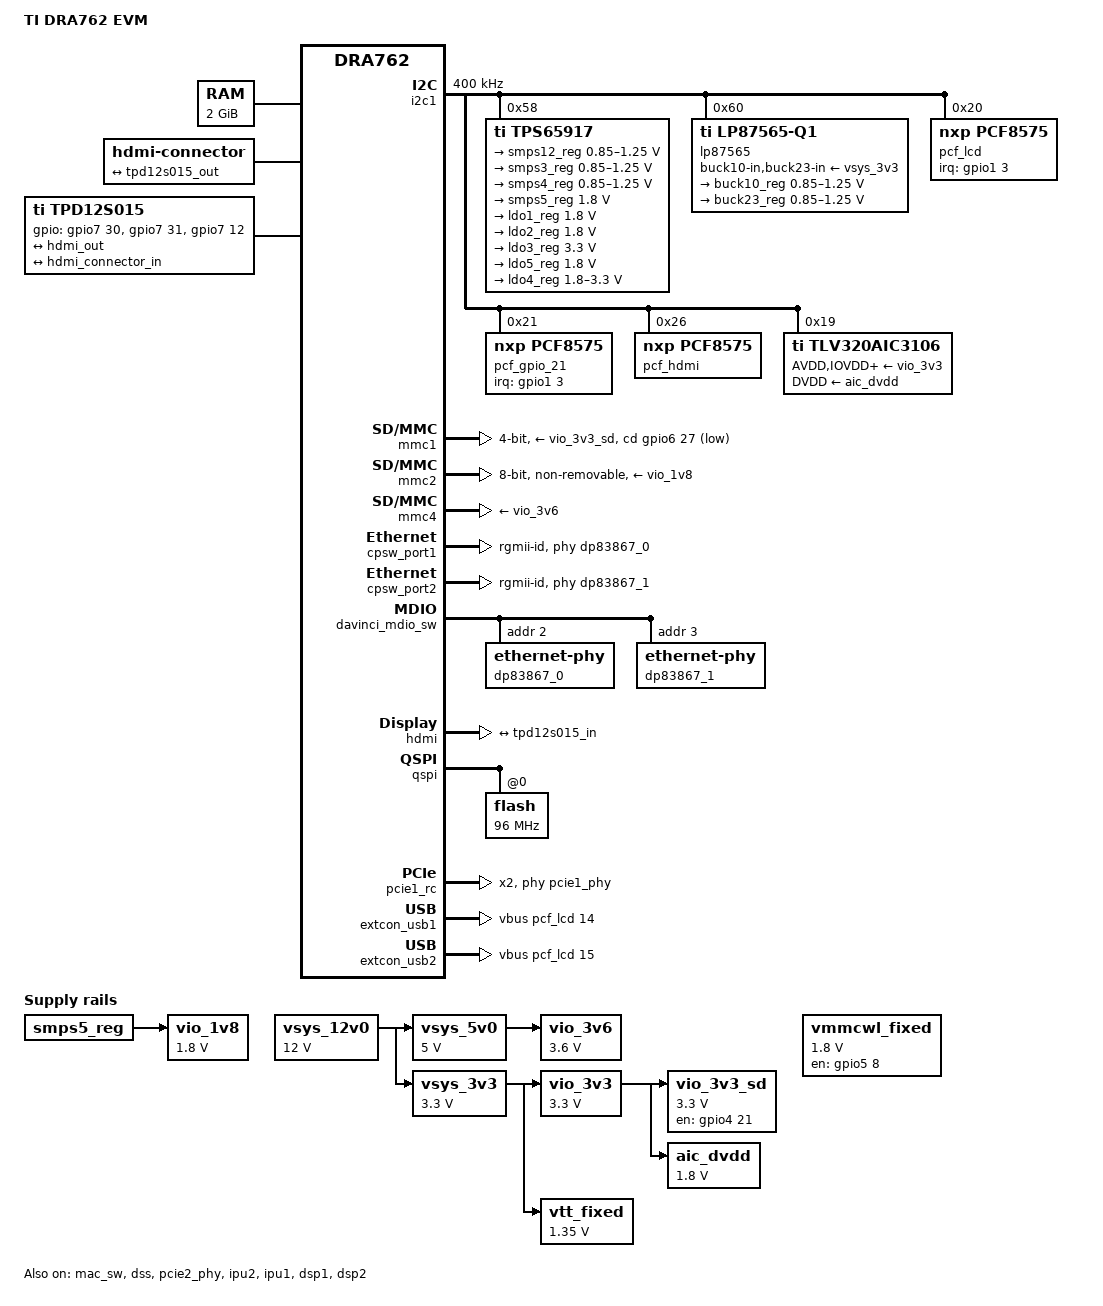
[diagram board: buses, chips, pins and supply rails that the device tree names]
// SPDX-License-Identifier: GPL-2.0-only
/*
 * Copyright (C) 2017 Texas Instruments Incorporated - https://www.ti.com/
 */
/dts-v1/;

#include "dra76x.dtsi"
#include "dra7-evm-common.dtsi"
#include "dra76x-mmc-iodelay.dtsi"
#include <dt-bindings/net/ti-dp83867.h>

/ {
	model = "TI DRA762 EVM";
	compatible = "ti,dra76-evm", "ti,dra762", "ti,dra7";

	aliases {
		display0 = &hdmi0;

		sound0 = &sound0;
		sound1 = &hdmi;
	};

	memory@0 {
		device_type = "memory";
		reg = <0x0 0x80000000 0x0 0x80000000>;
	};

	reserved-memory {
		#address-cells = <2>;
		#size-cells = <2>;
		ranges;

		ipu2_cma_pool: ipu2_cma@95800000 {
			compatible = "shared-dma-pool";
			reg = <0x0 0x95800000 0x0 0x3800000>;
			reusable;
			status = "okay";
		};

		dsp1_cma_pool: dsp1_cma@99000000 {
			compatible = "shared-dma-pool";
			reg = <0x0 0x99000000 0x0 0x4000000>;
			reusable;
			status = "okay";
		};

		ipu1_cma_pool: ipu1_cma@9d000000 {
			compatible = "shared-dma-pool";
			reg = <0x0 0x9d000000 0x0 0x2000000>;
			reusable;
			status = "okay";
		};

		dsp2_cma_pool: dsp2_cma@9f000000 {
			compatible = "shared-dma-pool";
			reg = <0x0 0x9f000000 0x0 0x800000>;
			reusable;
			status = "okay";
		};
	};

	vsys_12v0: fixedregulator-vsys12v0 {
		/* main supply */
		compatible = "regulator-fixed";
		regulator-name = "vsys_12v0";
		regulator-min-microvolt = <12000000>;
		regulator-max-microvolt = <12000000>;
		regulator-always-on;
		regulator-boot-on;
	};

	vsys_5v0: fixedregulator-vsys5v0 {
		/* Output of Cntlr B of TPS43351-Q1 on dra76-evm */
		compatible = "regulator-fixed";
		regulator-name = "vsys_5v0";
		regulator-min-microvolt = <5000000>;
		regulator-max-microvolt = <5000000>;
		vin-supply = <&vsys_12v0>;
		regulator-always-on;
		regulator-boot-on;
	};

	vio_3v6: fixedregulator-vio_3v6 {
		compatible = "regulator-fixed";
		regulator-name = "vio_3v6";
		regulator-min-microvolt = <3600000>;
		regulator-max-microvolt = <3600000>;
		vin-supply = <&vsys_5v0>;
		regulator-always-on;
		regulator-boot-on;
	};

	vsys_3v3: fixedregulator-vsys3v3 {
		/* Output of Cntlr A of TPS43351-Q1 on dra76-evm */
		compatible = "regulator-fixed";
		regulator-name = "vsys_3v3";
		regulator-min-microvolt = <3300000>;
		regulator-max-microvolt = <3300000>;
		vin-supply = <&vsys_12v0>;
		regulator-always-on;
		regulator-boot-on;
	};

	vio_3v3: fixedregulator-vio_3v3 {
		compatible = "regulator-fixed";
		regulator-name = "vio_3v3";
		regulator-min-microvolt = <3300000>;
		regulator-max-microvolt = <3300000>;
		vin-supply = <&vsys_3v3>;
		regulator-always-on;
		regulator-boot-on;
	};

	vio_3v3_sd: fixedregulator-sd {
		compatible = "regulator-fixed";
		regulator-name = "vio_3v3_sd";
		regulator-min-microvolt = <3300000>;
		regulator-max-microvolt = <3300000>;
		vin-supply = <&vio_3v3>;
		enable-active-high;
		gpio = <&gpio4 21 GPIO_ACTIVE_HIGH>;
	};

	vio_1v8: fixedregulator-vio_1v8 {
		compatible = "regulator-fixed";
		regulator-name = "vio_1v8";
		regulator-min-microvolt = <1800000>;
		regulator-max-microvolt = <1800000>;
		vin-supply = <&smps5_reg>;
	};

	vmmcwl_fixed: fixedregulator-mmcwl {
		compatible = "regulator-fixed";
		regulator-name = "vmmcwl_fixed";
		regulator-min-microvolt = <1800000>;
		regulator-max-microvolt = <1800000>;
		gpio = <&gpio5 8 0>;	/* gpio5_8 */
		startup-delay-us = <70000>;
		enable-active-high;
	};

	vtt_fixed: fixedregulator-vtt {
		compatible = "regulator-fixed";
		regulator-name = "vtt_fixed";
		regulator-min-microvolt = <1350000>;
		regulator-max-microvolt = <1350000>;
		vin-supply = <&vsys_3v3>;
		regulator-always-on;
		regulator-boot-on;
	};

	aic_dvdd: fixedregulator-aic_dvdd {
		/* TPS77018DBVT */
		compatible = "regulator-fixed";
		regulator-name = "aic_dvdd";
		vin-supply = <&vio_3v3>;
		regulator-min-microvolt = <1800000>;
		regulator-max-microvolt = <1800000>;
	};

	hdmi0: connector {
		compatible = "hdmi-connector";
		label = "hdmi";

		type = "a";

		port {
			hdmi_connector_in: endpoint {
				remote-endpoint = <&tpd12s015_out>;
			};
		};
	};

	tpd12s015: encoder {
		compatible = "ti,tpd12s015";

		gpios = <&gpio7 30 GPIO_ACTIVE_HIGH>,   /* gpio7_30, CT CP HPD */
			<&gpio7 31 GPIO_ACTIVE_HIGH>,   /* gpio7_31, LS OE */
			<&gpio7 12 GPIO_ACTIVE_HIGH>;   /* gpio7_12/sp1_cs2, HPD */

		ports {
			#address-cells = <1>;
			#size-cells = <0>;

			port@0 {
				reg = <0>;

				tpd12s015_in: endpoint {
					remote-endpoint = <&hdmi_out>;
				};
			};

			port@1 {
				reg = <1>;

				tpd12s015_out: endpoint {
					remote-endpoint = <&hdmi_connector_in>;
				};
			};
		};
	};
};

&i2c1 {
	status = "okay";
	clock-frequency = <400000>;

	tps65917: tps65917@58 {
		compatible = "ti,tps65917";
		reg = <0x58>;
		ti,system-power-controller;
		ti,palmas-override-powerhold;
		interrupt-controller;
		#interrupt-cells = <2>;

		tps65917_pmic {
			compatible = "ti,tps65917-pmic";

			smps12-in-supply = <&vsys_3v3>;
			smps3-in-supply = <&vsys_3v3>;
			smps4-in-supply = <&vsys_3v3>;
			smps5-in-supply = <&vsys_3v3>;
			ldo1-in-supply = <&vsys_3v3>;
			ldo2-in-supply = <&vsys_3v3>;
			ldo3-in-supply = <&vsys_5v0>;
			ldo4-in-supply = <&vsys_5v0>;
			ldo5-in-supply = <&vsys_3v3>;

			tps65917_regulators: regulators {
				smps12_reg: smps12 {
					/* VDD_DSPEVE */
					regulator-name = "smps12";
					regulator-min-microvolt = <850000>;
					regulator-max-microvolt = <1250000>;
					regulator-always-on;
					regulator-boot-on;
				};

				smps3_reg: smps3 {
					/* VDD_CORE */
					regulator-name = "smps3";
					regulator-min-microvolt = <850000>;
					regulator-max-microvolt = <1250000>;
					regulator-boot-on;
					regulator-always-on;
				};

				smps4_reg: smps4 {
					/* VDD_IVA */
					regulator-name = "smps4";
					regulator-min-microvolt = <850000>;
					regulator-max-microvolt = <1250000>;
					regulator-always-on;
					regulator-boot-on;
				};

				smps5_reg: smps5 {
					/* VDDS1V8 */
					regulator-name = "smps5";
					regulator-min-microvolt = <1800000>;
					regulator-max-microvolt = <1800000>;
					regulator-boot-on;
					regulator-always-on;
				};

				ldo1_reg: ldo1 {
					/* LDO1_OUT --> VDA_PHY1_1V8  */
					regulator-name = "ldo1";
					regulator-min-microvolt = <1800000>;
					regulator-max-microvolt = <1800000>;
					regulator-always-on;
					regulator-boot-on;
					regulator-allow-bypass;
				};

				ldo2_reg: ldo2 {
					/* LDO2_OUT --> VDA_PHY2_1V8 */
					regulator-name = "ldo2";
					regulator-min-microvolt = <1800000>;
					regulator-max-microvolt = <1800000>;
					regulator-allow-bypass;
					regulator-always-on;
				};

				ldo3_reg: ldo3 {
					/* VDA_USB_3V3 */
					regulator-name = "ldo3";
					regulator-min-microvolt = <3300000>;
					regulator-max-microvolt = <3300000>;
					regulator-boot-on;
					regulator-always-on;
				};

				ldo5_reg: ldo5 {
					/* VDDA_1V8_PLL */
					regulator-name = "ldo5";
					regulator-min-microvolt = <1800000>;
					regulator-max-microvolt = <1800000>;
					regulator-always-on;
					regulator-boot-on;
				};

				ldo4_reg: ldo4 {
					/* VDD_SDIO_DV */
					regulator-name = "ldo4";
					regulator-min-microvolt = <1800000>;
					regulator-max-microvolt = <3300000>;
					regulator-boot-on;
					regulator-always-on;
				};
			};
		};

		tps65917_power_button {
			compatible = "ti,palmas-pwrbutton";
			interrupt-parent = <&tps65917>;
			interrupts = <1 IRQ_TYPE_NONE>;
			wakeup-source;
			ti,palmas-long-press-seconds = <6>;
		};
	};

	lp87565: lp87565@60 {
		compatible = "ti,lp87565-q1";
		reg = <0x60>;

		buck10-in-supply =<&vsys_3v3>;
		buck23-in-supply =<&vsys_3v3>;

		regulators: regulators {
			buck10_reg: buck10 {
				/*VDD_MPU*/
				regulator-name = "buck10";
				regulator-min-microvolt = <850000>;
				regulator-max-microvolt = <1250000>;
				regulator-always-on;
				regulator-boot-on;
			};

			buck23_reg: buck23 {
				/* VDD_GPU*/
				regulator-name = "buck23";
				regulator-min-microvolt = <850000>;
				regulator-max-microvolt = <1250000>;
				regulator-boot-on;
				regulator-always-on;
			};
		};
	};

	pcf_lcd: pcf8757@20 {
		compatible = "nxp,pcf8575";
		reg = <0x20>;
		gpio-controller;
		#gpio-cells = <2>;
		interrupt-controller;
		#interrupt-cells = <2>;
		interrupt-parent = <&gpio1>;
		interrupts = <3 IRQ_TYPE_EDGE_FALLING>;
	};

	pcf_gpio_21: pcf8757@21 {
		compatible = "nxp,pcf8575";
		reg = <0x21>;
		gpio-controller;
		#gpio-cells = <2>;
		interrupt-parent = <&gpio1>;
		interrupts = <3 IRQ_TYPE_EDGE_FALLING>;
		interrupt-controller;
		#interrupt-cells = <2>;
	};

	pcf_hdmi: pcf8575@26 {
		compatible = "nxp,pcf8575";
		reg = <0x26>;
		gpio-controller;
		#gpio-cells = <2>;
		hdmi-audio-hog {
			/* vin6_sel_s0: high: VIN6, low: audio */
			gpio-hog;
			gpios = <1 GPIO_ACTIVE_HIGH>;
			output-low;
			line-name = "vin6_sel_s0";
		};
	};

	tlv320aic3106: tlv320aic3106@19 {
		#sound-dai-cells = <0>;
		compatible = "ti,tlv320aic3106";
		reg = <0x19>;
		adc-settle-ms = <40>;
		ai3x-micbias-vg = <1>;		/* 2.0V */
		status = "okay";

		/* Regulators */
		AVDD-supply = <&vio_3v3>;
		IOVDD-supply = <&vio_3v3>;
		DRVDD-supply = <&vio_3v3>;
		DVDD-supply = <&aic_dvdd>;
	};
};

&cpu0 {
	vdd-supply = <&buck10_reg>;
};

&mmc1 {
	status = "okay";
	vmmc-supply = <&vio_3v3_sd>;
	vqmmc-supply = <&ldo4_reg>;
	bus-width = <4>;
	/*
	 * SDCD signal is not being used here - using the fact that GPIO mode
	 * is always hardwired.
	 */
	cd-gpios = <&gpio6 27 GPIO_ACTIVE_LOW>;
	pinctrl-names = "default", "hs";
	pinctrl-0 = <&mmc1_pins_default>;
	pinctrl-1 = <&mmc1_pins_hs>;
};

&mmc2 {
	status = "okay";
	vmmc-supply = <&vio_1v8>;
	vqmmc-supply = <&vio_1v8>;
	bus-width = <8>;
	non-removable;
	pinctrl-names = "default", "hs", "ddr_1_8v", "hs200_1_8v";
	pinctrl-0 = <&mmc2_pins_default>;
	pinctrl-1 = <&mmc2_pins_default>;
	pinctrl-2 = <&mmc2_pins_default>;
	pinctrl-3 = <&mmc2_pins_hs200 &mmc2_iodelay_hs200_conf>;
};

&mmc4 {
	status = "okay";
	vmmc-supply = <&vio_3v6>;
	vqmmc-supply = <&vmmcwl_fixed>;
	pinctrl-names = "default", "hs", "sdr12", "sdr25";
	pinctrl-0 = <&mmc4_pins_hs &mmc4_iodelay_default_conf>;
	pinctrl-1 = <&mmc4_pins_hs &mmc4_iodelay_manual1_conf>;
	pinctrl-2 = <&mmc4_pins_hs &mmc4_iodelay_manual1_conf>;
	pinctrl-3 = <&mmc4_pins_hs &mmc4_iodelay_manual1_conf>;
};

/* No RTC on this device */
&rtc {
	status = "disabled";
};

&mac_sw {
	status = "okay";
};

&cpsw_port1 {
	phy-handle = <&dp83867_0>;
	phy-mode = "rgmii-id";
	ti,dual-emac-pvid = <1>;
};

&cpsw_port2 {
	phy-handle = <&dp83867_1>;
	phy-mode = "rgmii-id";
	ti,dual-emac-pvid = <2>;
};

&davinci_mdio_sw {
	dp83867_0: ethernet-phy@2 {
		reg = <2>;
		ti,rx-internal-delay = <DP83867_RGMIIDCTL_2_25_NS>;
		ti,tx-internal-delay = <DP83867_RGMIIDCTL_250_PS>;
		ti,fifo-depth = <DP83867_PHYCR_FIFO_DEPTH_8_B_NIB>;
		ti,min-output-impedance;
		ti,dp83867-rxctrl-strap-quirk;
	};

	dp83867_1: ethernet-phy@3 {
		reg = <3>;
		ti,rx-internal-delay = <DP83867_RGMIIDCTL_2_25_NS>;
		ti,tx-internal-delay = <DP83867_RGMIIDCTL_250_PS>;
		ti,fifo-depth = <DP83867_PHYCR_FIFO_DEPTH_8_B_NIB>;
		ti,min-output-impedance;
		ti,dp83867-rxctrl-strap-quirk;
	};
};

&usb2_phy1 {
	phy-supply = <&ldo3_reg>;
};

&usb2_phy2 {
	phy-supply = <&ldo3_reg>;
};

&dss {
	status = "okay";
	vdda_video-supply = <&ldo5_reg>;
};

&hdmi {
	status = "okay";

	vdda-supply = <&ldo1_reg>;

	port {
		hdmi_out: endpoint {
			remote-endpoint = <&tpd12s015_in>;
		};
	};
};

&qspi {
	spi-max-frequency = <96000000>;
	flash@0 {
		spi-max-frequency = <96000000>;
	};
};

&pcie2_phy {
	status = "okay";
};

&pcie1_rc {
	num-lanes = <2>;
	phys = <&pcie1_phy>, <&pcie2_phy>;
	phy-names = "pcie-phy0", "pcie-phy1";
};

&pcie1_ep {
	num-lanes = <2>;
	phys = <&pcie1_phy>, <&pcie2_phy>;
	phy-names = "pcie-phy0", "pcie-phy1";
};

&extcon_usb1 {
	vbus-gpios = <&pcf_lcd 14 GPIO_ACTIVE_HIGH>;
};

&extcon_usb2 {
	vbus-gpios = <&pcf_lcd 15 GPIO_ACTIVE_HIGH>;
};

&m_can0 {
	can-transceiver {
		max-bitrate = <5000000>;
	};
};

&ipu2 {
	status = "okay";
	memory-region = <&ipu2_cma_pool>;
};

&ipu1 {
	status = "okay";
	memory-region = <&ipu1_cma_pool>;
};

&dsp1 {
	status = "okay";
	memory-region = <&dsp1_cma_pool>;
};

&dsp2 {
	status = "okay";
	memory-region = <&dsp2_cma_pool>;
};
